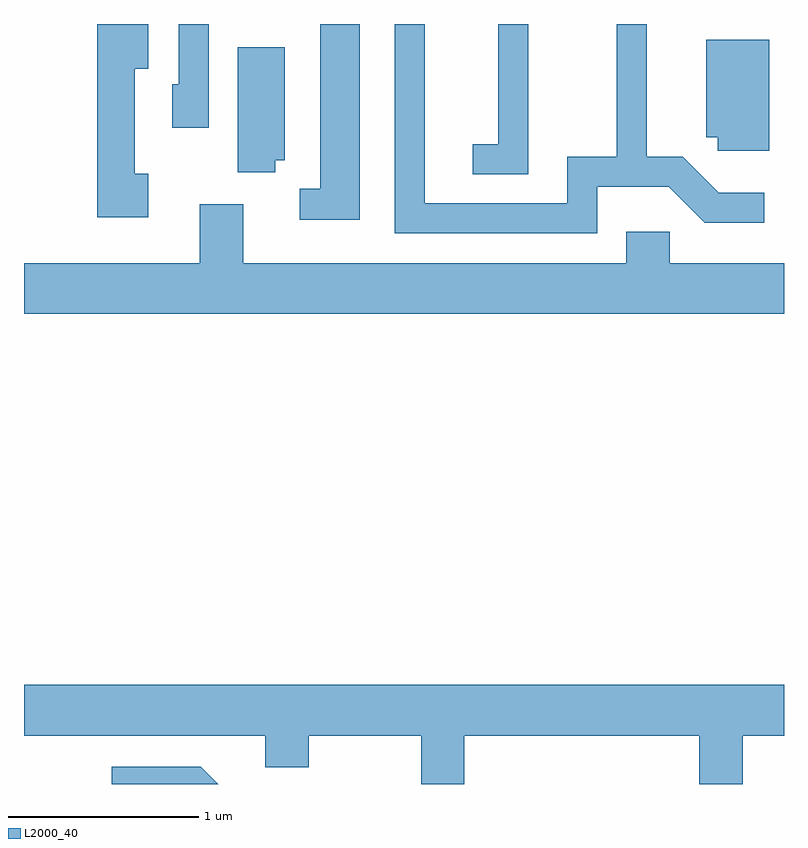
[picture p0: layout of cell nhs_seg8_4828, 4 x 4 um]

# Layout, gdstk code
import gdstk
lib = gdstk.Library(unit=1e-6, precision=1e-09)
def P(c, l, *ps):  # polygons
    for p in ps: c.add(gdstk.Polygon(p, *l))
L2000_40 = (2000, 40)

nhs_seg8_4828 = lib.new_cell('nhs_seg8_4828')
P(nhs_seg8_4828, L2000_40, [(331.379,1882.342),(331.171,1882.342),(331.171,1881.474),(331.063,1881.474),(331.063,1881.311),(331.379,1881.311)],
  [(330.264,1881.554),(330.194,1881.554),(330.194,1882.106),(330.264,1882.106),(330.264,1882.342),(329.996,1882.342),(329.996,1881.326),(330.264,1881.326)],
  [(332.629,1881.486),(333.004,1881.486),(333.194,1881.296),(333.508,1881.296),(333.508,1881.454),(333.267,1881.454),(333.077,1881.644),(332.889,1881.644),(332.889,1882.342),(332.731,1882.342),(332.731,1881.644),(332.471,1881.644),(332.471,1881.399),(331.719,1881.399),(331.719,1882.342),(331.561,1882.342),(331.561,1881.241),(332.629,1881.241)],
  [(330.584,1882.342),(330.426,1882.342),(330.426,1882.024),(330.391,1882.024),(330.391,1881.796),(330.584,1881.796)],
  [(332.264,1882.342),(332.106,1882.342),(332.106,1881.709),(331.973,1881.709),(331.973,1881.551),(332.264,1881.551)],
  [(333.534,1882.259),(333.201,1882.259),(333.201,1881.746),(333.261,1881.746),(333.261,1881.676),(333.534,1881.676)],
  [(330.934,1881.626),(330.984,1881.626),(330.984,1882.219),(330.736,1882.219),(330.736,1881.561),(330.934,1881.561)],
  [(332.781,1881.249),(332.781,1881.084),(330.764,1881.084),(330.764,1881.394),(330.536,1881.394),(330.536,1881.084),(329.611,1881.084),(329.611,1880.816),(333.611,1880.816),(333.611,1881.084),(333.009,1881.084),(333.009,1881.249)],
  [(331.929,1878.596),(333.166,1878.596),(333.166,1878.342),(333.394,1878.342),(333.394,1878.596),(333.611,1878.596),(333.611,1878.864),(329.611,1878.864),(329.611,1878.596),(330.881,1878.596),(330.881,1878.431),(331.109,1878.431),(331.109,1878.596),(331.701,1878.596),(331.701,1878.342),(331.929,1878.342)],
  [(330.542,1878.434),(330.073,1878.434),(330.073,1878.342),(330.634,1878.342)])

lib.write_gds('nhs_seg8_4828.gds')
